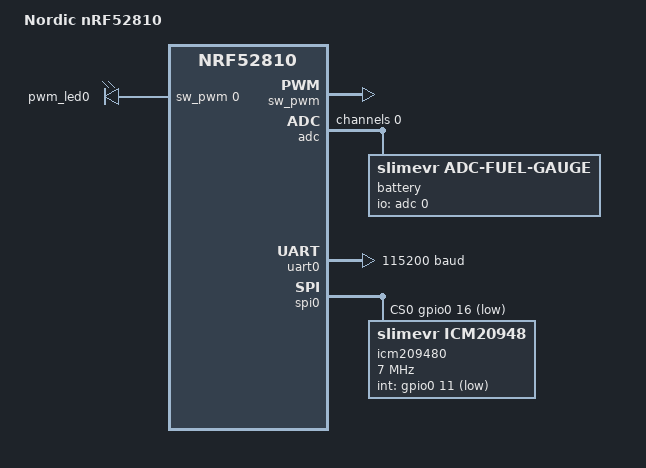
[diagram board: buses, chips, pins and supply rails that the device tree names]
/*
 * SPDX-License-Identifier: Apache-2.0
 */

/dts-v1/;
#include <nordic/nrf52810_qfaa.dtsi>
#include "nrf52810-pinctrl.dtsi"

/ {
	model = "Nordic nRF52810";
	compatible = "nordic,nRF52810-QFAA";

	chosen {
		zephyr,console = &uart0;
		zephyr,shell-uart = &uart0;
		zephyr,sram = &sram0;
		zephyr,flash = &flash0;
		zephyr,code-partition = &slot0_partition;
	};

	pwmleds {
		compatible = "pwm-leds";
		pwm_led0: pwm_led_0 {
			pwms = <&sw_pwm 0 PWM_MSEC(20) PWM_POLARITY_INVERTED>;
		};
	};

	/* These aliases are provided for compatibility with samples */
	aliases {
		pwm-led0 = &pwm_led0;
		watchdog0 = &wdt0;
	};

	blesink {
		compatible = "slimevr,blesink";
		status = "okay";

		battery = <&battery>;
	};
};

&sw_pwm {
	status ="okay";
	channel-gpios = <&gpio0 7 PWM_POLARITY_INVERTED>;
	clock-prescaler = <8>;
};

&gpiote {
	status = "okay";
};

&gpio0 {
	status = "okay";
};

&adc {
	status = "okay";

	#io-channel-cells = <1>;
	#address-cells = <1>;
	#size-cells = <0>;

	channel@0 {
		reg = <0>;
		zephyr,gain = "ADC_GAIN_1_6";
		zephyr,reference = "ADC_REF_INTERNAL";
		zephyr,acquisition-time = <ADC_ACQ_TIME_DEFAULT>;
		zephyr,input-positive = <NRF_SAADC_AIN0>; /* P0.02 */
		zephyr,resolution = <12>;
	};

	battery: battery {
		compatible = "slimevr,adc-fuel-gauge";
		status = "okay";

		io-channels = <&adc 0>;
		output-ohms = <10000>;
		full-ohms = <(36000 + 10000)>;
		battery-full-mv = <4200>;
		battery-empty-mv = <3000>;
	};
};

&uart0 {
	compatible = "nordic,nrf-uarte";
	status = "okay";
	current-speed = <115200>;
	pinctrl-0 = <&uart0_default>;
	pinctrl-1 = <&uart0_sleep>;
	pinctrl-names = "default", "sleep";
};

&spi0 {
	compatible = "nordic,nrf-spim";
	status = "okay";
	pinctrl-0 = <&spi0_default>;
	pinctrl-1 = <&spi0_sleep>;
	pinctrl-names = "default", "sleep";

	cs-gpios = <&gpio0 16 GPIO_ACTIVE_LOW>;

	icm209480: icm20948@0 {
		compatible = "slimevr,icm20948";
		status = "okay";

		reg = <0>;
		spi-max-frequency = <7000000>;
		int-gpios = <&gpio0 11 GPIO_ACTIVE_LOW>;
	};
};

&flash0 {
	partitions {
		compatible = "fixed-partitions";
		#address-cells = <1>;
		#size-cells = <1>;

		boot_partition: partition@0 {
			label = "mcuboot";
			reg = <0x00000000 0xc000>;
		};
		slot0_partition: partition@c000 {
			label = "image-0";
			reg = <0x0000C000 0xe000>;
		};
		slot1_partition: partition@1a000 {
			label = "image-1";
			reg = <0x0001a000 0xe000>;
		};
		storage_partition: partition@28000 {
			label = "storage";
			reg = <0x00028000 0x00008000>;
		};
	};
};
